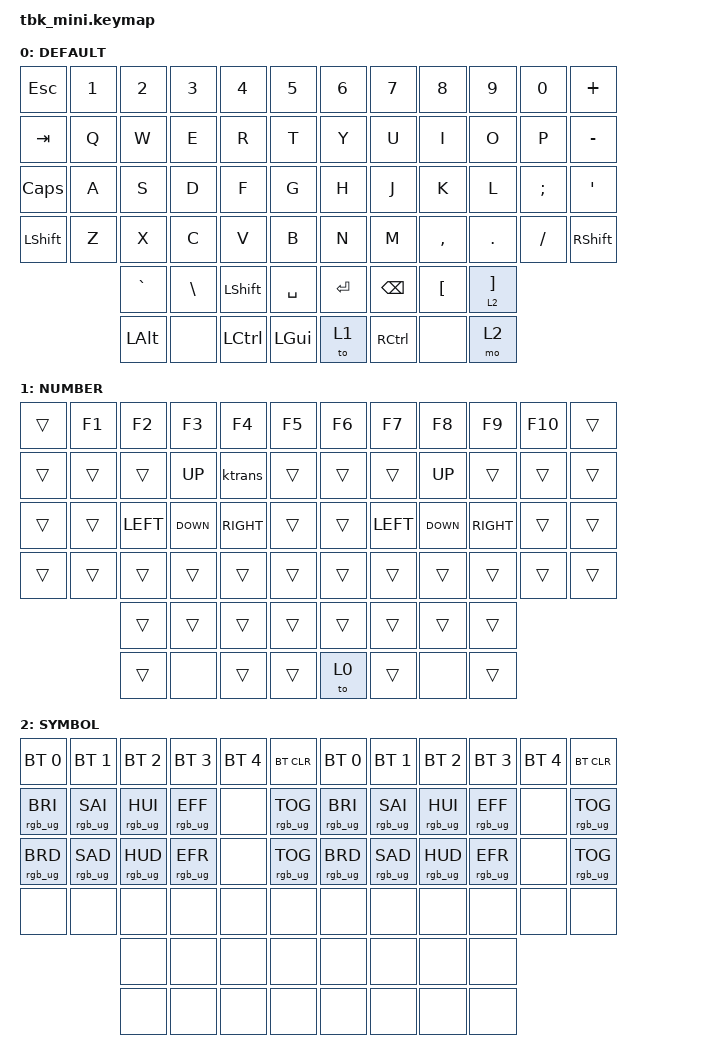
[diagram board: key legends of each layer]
/*
 * Copyright (c) 2020 The ZMK Contributors
 *
 * SPDX-License-Identifier: MIT
 */

#include <behaviors.dtsi>
#include <dt-bindings/zmk/keys.h>
#include <dt-bindings/zmk/bt.h>
#include <dt-bindings/zmk/rgb.h>
#include <dt-bindings/zmk/outputs.h>


#define DEFAULT 0
#define NUMBER  1
#define SYMBOL  2
#define HOTKEY  3
#define SETTING 4
#define AS(keycode) &as LS(keycode) keycode




/ {
        behaviors {
        td0: tap_dance_0 {
            compatible = "zmk,behavior-tap-dance";
            label = "TAP_DANCE_0";
            #binding-cells = <0>;
            tapping-term-ms = <200>;
            bindings = <&mo 0>, <&to 0>, <&to 0>;
        };
        
    };  

         behaviors {
       as: auto_shift {
        compatible = "zmk,behavior-hold-tap";
        label = "AUTO_SHIFT";
        #binding-cells = <2>;
        tapping-term-ms = <160>;
        quick-tap-ms = <0>;
        flavor = "tap-preferred";
        bindings = <&kp>, <&kp>;
                };
modcp: mod_copy {
        compatible = "zmk,behavior-mod-morph";
        label = "MOD_COPY";
        #binding-cells = <0>;
        bindings = <&as LS(C) C>, <&kp C>;
        mods = <(LGUI | RGUI)>;
};
  
        };


    macros {
        macro_phone: macro_phone {
            // 1351
            label = "MACRO_PHONE";
            compatible = "zmk,behavior-macro";
            #binding-cells = <0>;
            bindings
                = < &kp N1 &kp N3 &kp N5  &kp N1>
                ;
        };
        
        macro_email_g: macro_email_g {
            // 135115
            compatible = "zmk,behavior-macro";
            label = "MACRO_EMAIL_GMAIL";
            #binding-cells = <0>;
            bindings
                = < &kp N1 &kp N3 &kp N5  &kp N1 &kp N1 &kp N5 >
                ;
        };
         
    };
    
    combos {
        compatible = "zmk,combos";
        combo_esc {
            timeout-ms = <50>;
            key-positions = <14 15>;
            bindings = <&kp ESC>;
        };
        
         combo_LSHFT {
            timeout-ms = <50>;
            key-positions = <26 27>;
            bindings = <&kp  LSHFT>;
        };
        
            combo_LGUI {
            timeout-ms = <50>;
            key-positions = <38 39>;
            bindings = <&kp LGUI>;
        };
        
   
          
  };


    keymap {
       compatible = "zmk,keymap";
       default_layer {
            label = "DEFAULT";
            bindings = <
&kp ESC &kp N1 &kp N2 &kp N3 &kp N4 &kp N5           &kp N6  &kp N7  &kp N8  &kp N9  &kp N0   &kp PLUS
&kp TAB   &kp Q  &kp W    &kp E   &kp R   &kp T      &kp Y  &kp U     &kp I     &kp O    &kp P    &kp MINUS
&kp CAPS  &kp A  &kp S    &kp D   &kp F  &kp G       &kp H  &kp J     &kp K     &kp L    &kp SEMI &kp SQT
&kp LSHFT &kp Z  &kp X    &kp C   &kp V  &kp B       &kp N  &kp M     &kp COMMA &kp DOT  &kp FSLH &kp RSHFT 
&kp GRAVE  &kp BACKSLASH  &kp LSHFT &kp SPACE        &kp ENTER   &kp BSPC    &kp LBKT  &lt 2 RBKT          
&kp LALT &none	&kp LCTRL 	&kp LGUI 	       &to 1   &kp RCTRL &none &mo 2

            >;
        };
        number_layer {
            label = "NUMBER";
            bindings = <
    &trans  &kp F1 &kp F2 &kp F3   &kp F4 &kp F5             &kp F6  &kp F7    &kp F8 &kp F9 &kp F10  &trans
    &trans  &trans &trans  &UP  &ktrans  &trans             &trans &trans &UP &trans &trans  &trans 
    &trans   &trans  &LEFT  &DOWN   &RIGHT  &trans          &trans &LEFT &DOWN &RIGHT &trans  &trans
   &trans  &trans &trans  &trans  &trans    &trans          &trans &trans &trans &trans &trans &trans
   &trans     &trans     &trans    &trans                       &trans &trans	&trans &trans	
      &trans   &none    &trans    &trans                                       &to 0     &trans      &none    &trans     	

            >;
        };

        symbol_layer {
            label = "SYMBOL";
            bindings = <
&bt BT_SEL 0	&bt BT_SEL 1	&bt BT_SEL 2	&bt BT_SEL 3 &bt BT_SEL 4 &bt BT_CLR 	&bt BT_SEL 0	&bt BT_SEL 1	&bt BT_SEL 2	&bt BT_SEL 3 &bt BT_SEL 4 &bt BT_CLR 
&rgb_ug RGB_BRI  &rgb_ug RGB_SAI  &rgb_ug RGB_HUI  &rgb_ug RGB_EFF  &none &rgb_ug RGB_TOG  &rgb_ug RGB_BRI  &rgb_ug RGB_SAI  &rgb_ug RGB_HUI  &rgb_ug RGB_EFF  &none &rgb_ug RGB_TOG	
&rgb_ug RGB_BRD &rgb_ug RGB_SAD &rgb_ug RGB_HUD &rgb_ug RGB_EFR &none &rgb_ug RGB_TOG	&rgb_ug RGB_BRD &rgb_ug RGB_SAD &rgb_ug RGB_HUD &rgb_ug RGB_EFR &none &rgb_ug RGB_TOG	
	&none	&none	&none	&none	&none	&none	&none	&none	&none	&none	&none	&none
		&none	&none 	&none	&none	&none	&none	&none	&none		
		&none	&none	&none	&none	&none	&none	&none	&none	                                                                                       
        
         >;
        };
   };
};
